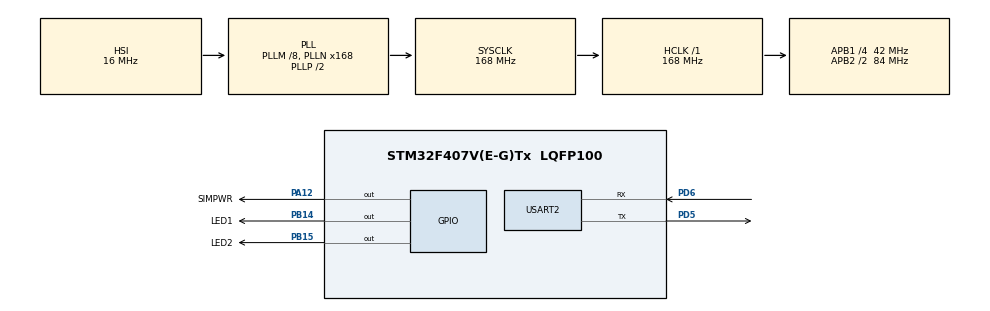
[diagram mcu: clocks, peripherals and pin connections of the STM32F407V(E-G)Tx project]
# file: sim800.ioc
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Mcu.Family=STM32F4
Mcu.Name=STM32F407V(E-G)Tx
Mcu.Package=LQFP100
NVIC.PriorityGroup=NVIC_PRIORITYGROUP_4
NVIC.USART2_IRQn=true\:0\:0\:false\:false\:true\:true\:true
PA12.GPIO_Label=SIMPWR
PA12.Signal=GPIO_Output
PA13.Mode=Serial_Wire
PA13.Signal=SYS_JTMS-SWDIO
PA14.Mode=Serial_Wire
PA14.Signal=SYS_JTCK-SWCLK
PB14.GPIO_Label=LED1
PB14.Signal=GPIO_Output
PB15.GPIO_Label=LED2
PB15.Signal=GPIO_Output
PD5.Mode=Asynchronous
PD5.Signal=USART2_TX
PD6.Mode=Asynchronous
PD6.Signal=USART2_RX
ProjectManager.HeapSize=0x200
ProjectManager.StackSize=0x400
ProjectManager.TargetToolchain=MDK-ARM V5.27
RCC.48MHZClocksFreq_Value=84000000
RCC.AHBFreq_Value=168000000
RCC.APB1CLKDivider=RCC_HCLK_DIV4
RCC.APB1Freq_Value=42000000
RCC.APB1TimFreq_Value=84000000
RCC.APB2CLKDivider=RCC_HCLK_DIV2
RCC.APB2Freq_Value=84000000
RCC.APB2TimFreq_Value=168000000
RCC.CortexFreq_Value=168000000
RCC.HCLKFreq_Value=168000000
RCC.HSE_VALUE=25000000
RCC.HSI_VALUE=16000000
RCC.LSE_VALUE=32768
RCC.PLLM=8
RCC.PLLN=168
RCC.SYSCLKFreq_VALUE=168000000
RCC.SYSCLKSource=RCC_SYSCLKSOURCE_PLLCLK
RCC.VCOOutputFreq_Value=336000000
USART2.VirtualMode=VM_ASYNC
board=custom

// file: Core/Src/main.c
/* USER CODE BEGIN Header */
/**
  ******************************************************************************
  * @file           : main.c
  * @brief          : Main program body
  ******************************************************************************
  * @attention
  *
  * <h2><center>&copy; Copyright (c) 2021 STMicroelectronics.
  * All rights reserved.</center></h2>
  *
  * This software component is licensed by ST under BSD 3-Clause license,
  * the "License"; You may not use this file except in compliance with the
  * License. You may obtain a copy of the License at:
  *                        opensource.org/licenses/BSD-3-Clause
  *
  ******************************************************************************
  */
/* USER CODE END Header */
#include "main.h"
#include "usart.h"
#include "gpio.h"

/* USER CODE BEGIN Includes */
#include "string.h"
#include "stdlib.h"
#include "tm_stm32f4_hd44780.h"
/* USER CODE END Includes */

/* USER CODE BEGIN PD */
#define Timeout 5000
/* USER CODE END PD */

/* USER CODE BEGIN PV */
extern UART_HandleTypeDef huart2;
uint8_t rx,rx_buff[500],count = 0,ok_flag = 0,led_flag = 0,sms_flag = 0;
uint32_t tickstart;
char str[50];
char *ret;
char *token;
char sms_cnt;
char sms_phonenumber[20],sms_time[20],sms_date[20],message[30];
/* USER CODE END PV */

void SystemClock_Config(void);

/* USER CODE BEGIN 0 */
/**
  * @brief  Rx Transfer completed callbacks.
  * @param  huart  Pointer to a UART_HandleTypeDef structure that contains
  *                the configuration information for the specified UART module.
  * @retval None
  */
void HAL_UART_RxCpltCallback(UART_HandleTypeDef *huart)
{
		if(huart->Instance == USART2)
		{
			HAL_UART_Receive_IT(&huart2,&rx,1);
			rx_buff[count++] = rx;
			if(rx_buff[count - 1] == 0x0a && rx_buff[count - 2] == 0x0d && rx_buff[count - 3] == 'K' && rx_buff[count - 4] == 'O')
			{
			  ok_flag = 1;

			}
			if(strstr(rx_buff,"+CMTI") && rx_buff[count - 1] == 0x0a && rx_buff[count - 2] == 0x0d)
			{
				sms_flag = 1;
			}

		}
}

uint8_t SIM_SENDCOMMAND(char* command)
{
	HAL_UART_Transmit(&huart2,(uint8_t*)command,strlen(command),Timeout);
	tickstart = HAL_GetTick();
	while(ok_flag == 0 && (HAL_GetTick() - tickstart) < Timeout );
	if(ok_flag)
	{

		ok_flag = 0;
		count = 0;
		memset(rx_buff,0,sizeof(rx_buff));
		return 0;
	}
	else if((HAL_GetTick() - tickstart) >= Timeout)
	{
	  return 1;
	}

}

uint8_t SIM_INIT(void)
{
  sprintf(str,"AT\n");  //at test
	SIM_SENDCOMMAND(str);
  sprintf(str,"ATE0\n");//set config
	SIM_SENDCOMMAND(str);
  sprintf(str,"AT+CMGF=1\n");//text mode
	SIM_SENDCOMMAND(str);
  sprintf(str,"AT+CSMP=17,167,0,0\n");//paramet set
	SIM_SENDCOMMAND(str);
  sprintf(str,"AT+CMGDA=\"DEL ALL\"\n");
	SIM_SENDCOMMAND(str);
}

void SIM_SEND_SMS(char * phoneNumber,char * text)
{
	sprintf(str,"AT+CMGS=\"%s\"\n",phoneNumber);
  HAL_UART_Transmit(&huart2,(uint8_t*)str,strlen(str),Timeout);
	sprintf(str,"%s",text);
	HAL_UART_Transmit(&huart2,(uint8_t*)str,strlen(str),Timeout);
	USART2->DR = 26;
}

uint8_t SIM_READ_SMS(char sms)
{
	memset(rx_buff,0,sizeof(rx_buff));
  sprintf(str,"AT+CMGR=%d\n",sms);  //read sms
	HAL_UART_Transmit(&huart2,(uint8_t*)str,strlen(str),Timeout);
	tickstart = HAL_GetTick();
	while(ok_flag == 0 && (HAL_GetTick() - tickstart) < Timeout );
	if(ok_flag)
	{
		ok_flag = 0;
		count = 0;

		token = strtok(rx_buff,",");
		//1,
		//2 phonenumber
		//3
		//4date
		//5 time sms
		int i = 0;
		while(token !=NULL)
		{
			switch(i)
			{
				case 0:
					token = strtok(NULL,",");
				break;
				case 1:
					sprintf(sms_phonenumber,"%s",token);
					token = strtok(NULL,",");
				break;
				case 2:
					token = strtok(NULL,",");
				break;
				case 3:
					 sprintf(sms_date,"%s",token);
					 token = strtok(NULL,"\r\n");
				break;
				case 4:
					sprintf(sms_time,"%s",token);
					token = strtok(NULL,"\r\n");
				break;
				case 5:
					sprintf(message,"%s",token);
					token = strtok(NULL,"\r\n");
				break;
			}
			i++;
			if(i == 6 )
				break;

		}

		memset(rx_buff,0,sizeof(rx_buff));
		return 0;
	}
	else if((HAL_GetTick() - tickstart) >= Timeout)
	{
	  return 1;
	}

}

/* USER CODE END 0 */

int main(void)
{

  /* MCU Configuration--------------------------------------------------------*/

  /* Reset of all peripherals, Initializes the Flash interface and the Systick. */
  HAL_Init();

  /* Configure the system clock */
  SystemClock_Config();

  /* Initialize all configured peripherals */
  MX_GPIO_Init();
  MX_USART2_UART_Init();
  /* USER CODE BEGIN 2 */

//  HAL_GPIO_WritePin(SIMPWR_GPIO_Port,SIMPWR_Pin,1);
//	HAL_Delay(3000);
//	HAL_GPIO_WritePin(SIMPWR_GPIO_Port,SIMPWR_Pin,0);
//	HAL_Delay(20000);

	HAL_UART_Receive_IT(&huart2,&rx,1);
	TM_HD44780_Init( 16 , 2 );
  SIM_INIT();

  /* USER CODE END 2 */

  /* Infinite loop */
  while (1)
  {

    /* USER CODE BEGIN 3 */
		if(sms_flag)
		{
				//,1\n\r
			ret = strstr(rx_buff,",");
		  ret = ret + 1;
			token = strtok(ret,"\n\r");
		  sms_cnt = atoi(token);
			count = 0;
			memset(rx_buff,0,sizeof(rx_buff));
			SIM_READ_SMS(sms_cnt);

			if(strstr(sms_phonenumber,"7560"))
			{
				 TM_HD44780_Clear();
				 TM_HD44780_Puts(0,0,sms_date);
				 TM_HD44780_Puts(0,1,sms_time);

			   if(strstr(message,"LED1_ON"))      HAL_GPIO_WritePin(LED1_GPIO_Port,LED1_Pin,1);
				 if(strstr(message,"LED2_ON"))      HAL_GPIO_WritePin(LED2_GPIO_Port,LED2_Pin,1);
				 if(strstr(message,"LED1_OFF"))     HAL_GPIO_WritePin(LED1_GPIO_Port,LED1_Pin,0);
				 if(strstr(message,"LED2_OFF"))     HAL_GPIO_WritePin(LED2_GPIO_Port,LED2_Pin,0);

			}

			sms_flag = 0;

		}
  }
  /* USER CODE END 3 */
}

void SystemClock_Config(void)
{
  RCC_OscInitTypeDef RCC_OscInitStruct = {0};
  RCC_ClkInitTypeDef RCC_ClkInitStruct = {0};

  /** Configure the main internal regulator output voltage
  */
  __HAL_RCC_PWR_CLK_ENABLE();
  __HAL_PWR_VOLTAGESCALING_CONFIG(PWR_REGULATOR_VOLTAGE_SCALE1);
  /** Initializes the RCC Oscillators according to the specified parameters
  * in the RCC_OscInitTypeDef structure.
  */
  RCC_OscInitStruct.OscillatorType = RCC_OSCILLATORTYPE_HSI;
  RCC_OscInitStruct.HSIState = RCC_HSI_ON;
  RCC_OscInitStruct.HSICalibrationValue = RCC_HSICALIBRATION_DEFAULT;
  RCC_OscInitStruct.PLL.PLLState = RCC_PLL_ON;
  RCC_OscInitStruct.PLL.PLLSource = RCC_PLLSOURCE_HSI;
  RCC_OscInitStruct.PLL.PLLM = 8;
  RCC_OscInitStruct.PLL.PLLN = 168;
  RCC_OscInitStruct.PLL.PLLP = RCC_PLLP_DIV2;
  RCC_OscInitStruct.PLL.PLLQ = 4;
  if (HAL_RCC_OscConfig(&RCC_OscInitStruct) != HAL_OK)
  {
    Error_Handler();
  }
  /** Initializes the CPU, AHB and APB buses clocks
  */
  RCC_ClkInitStruct.ClockType = RCC_CLOCKTYPE_HCLK|RCC_CLOCKTYPE_SYSCLK
                              |RCC_CLOCKTYPE_PCLK1|RCC_CLOCKTYPE_PCLK2;
  RCC_ClkInitStruct.SYSCLKSource = RCC_SYSCLKSOURCE_PLLCLK;
  RCC_ClkInitStruct.AHBCLKDivider = RCC_SYSCLK_DIV1;
  RCC_ClkInitStruct.APB1CLKDivider = RCC_HCLK_DIV4;
  RCC_ClkInitStruct.APB2CLKDivider = RCC_HCLK_DIV2;

  if (HAL_RCC_ClockConfig(&RCC_ClkInitStruct, FLASH_LATENCY_5) != HAL_OK)
  {
    Error_Handler();
  }
}

void Error_Handler(void)
{
  __disable_irq();
  while (1)
  {
  }
}

/************************ (C) COPYRIGHT STMicroelectronics *****END OF FILE****/
